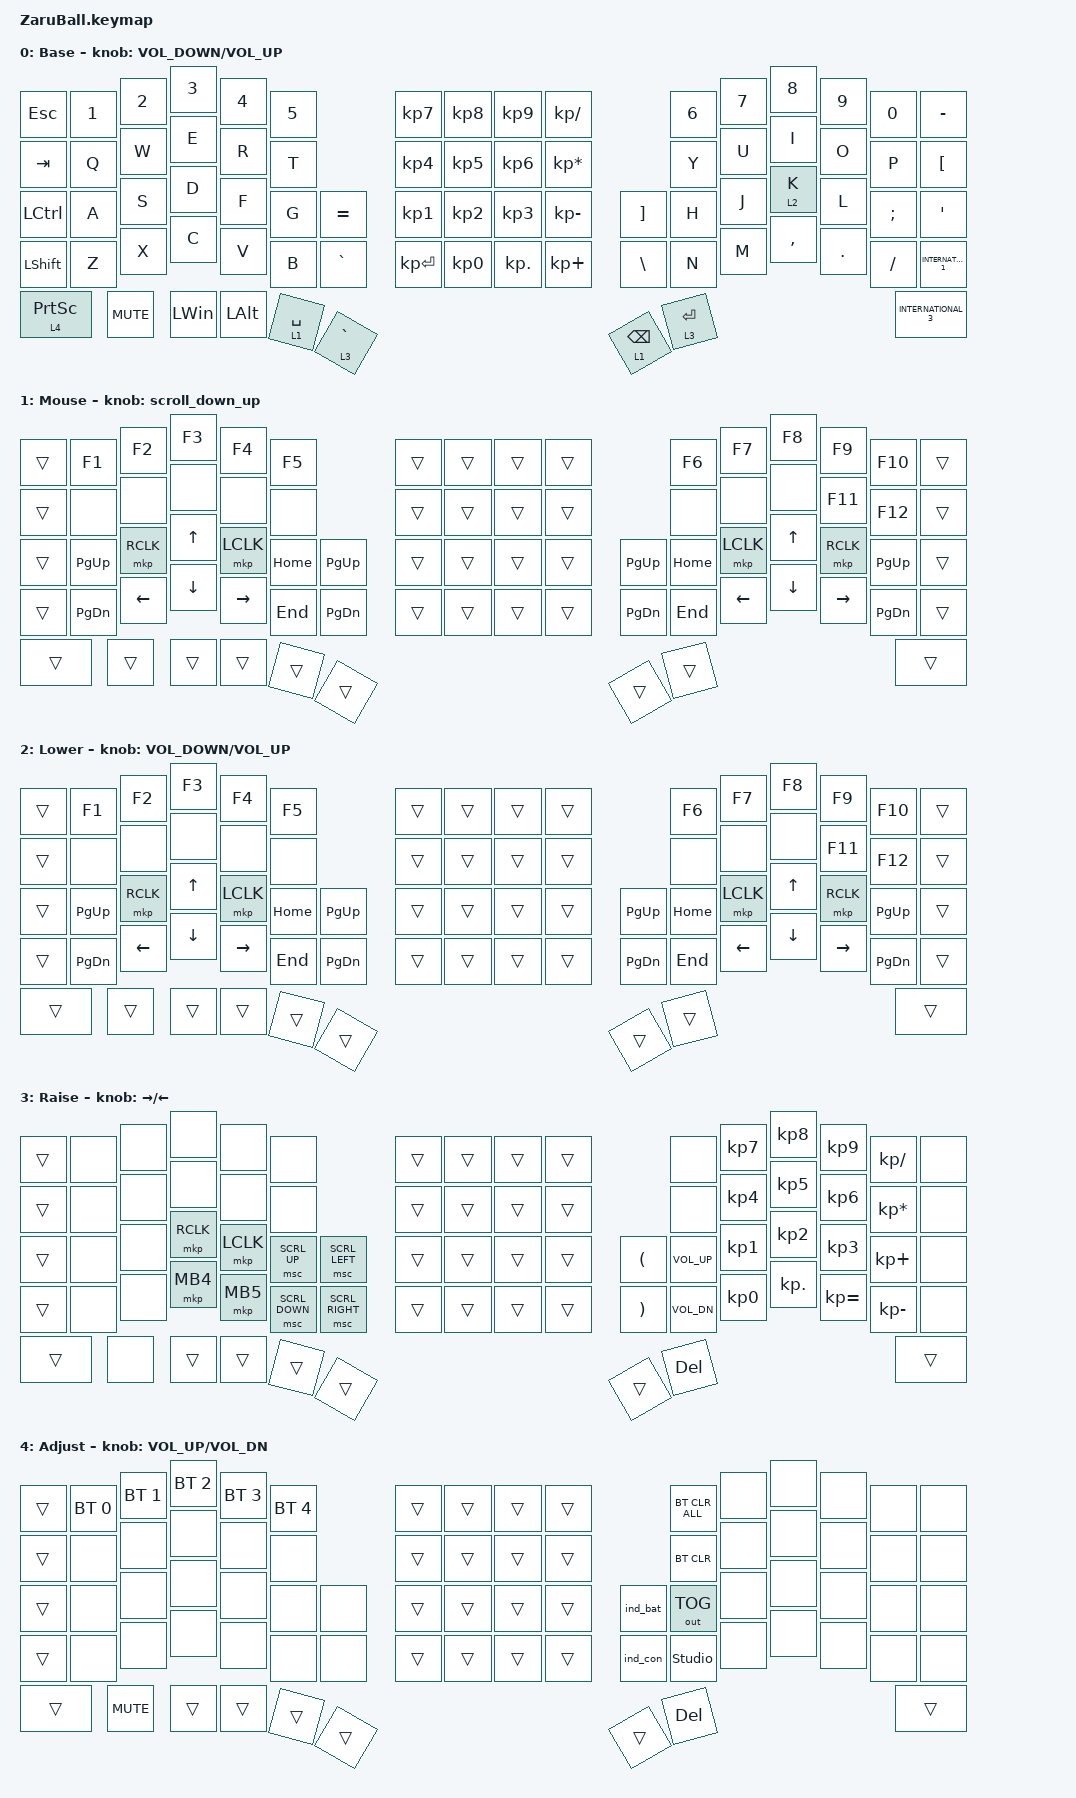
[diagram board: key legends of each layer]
//#include <dt-bindings/zmk/mouse.h>

#include <behaviors/rgbled_widget.dtsi>
#include <input/processors.dtsi>
#include <dt-bindings/zmk/input_transform.h>
#include <behaviors.dtsi>
#include <dt-bindings/zmk/bt.h>
#include <dt-bindings/zmk/keys.h>
#include <dt-bindings/zmk/outputs.h>
#include <dt-bindings/zmk/pointing.h>

#define BASE     0
#define MOUSE    1
#define LOWER    2
#define RAISE    3
#define ADJUST   4
#define SCROLL   2

// スクロール量の設定

#define ZMK_POINTING_DEFAULT_SCRL_VAL 100

&trackball_listener {
    input-processors = <
                         &zip_xy_transform (INPUT_TRANSFORM_XY_SWAP | INPUT_TRANSFORM_Y_INVERT | INPUT_TRANSFORM_X_INVERT)
                         &zip_temp_layer MOUSE 500
    >;

    scroller {
        layers = <SCROLL>;
        input-processors = <
                            &zip_xy_transform (INPUT_TRANSFORM_XY_SWAP | INPUT_TRANSFORM_X_INVERT)
                            &zip_xy_scaler 1 20
                            &zip_xy_to_scroll_mapper
        >;
    };
};

/ {
    conditional_layers {
        compatible = "zmk,conditional-layers";

        tri_layer {
            if-layers = <2 3>;
            then-layer = <4>;
        };
    };
};

/ {
    behaviors {
        // スクロール用のbehaviorの設定

        scroll_down_up: behavior_sensor_rotate_mouse_wheel_down_up {
            compatible = "zmk,behavior-sensor-rotate";
            #sensor-binding-cells = <0>;
            bindings = <&msc SCRL_DOWN>, <&msc SCRL_UP>;

            tap-ms = <20>; // スクロールのタップ時間
        };

        td0: tap_dance_0 {
            compatible = "zmk,behavior-tap-dance";
            #binding-cells = <0>;
            tapping-term-ms = <200>;
            bindings = <&mt LALT LANG2>, <&mo RAISE>, <&mo MOUSE>;
        };

        td1: tap_dance_1 {
            compatible = "zmk,behavior-tap-dance";
            #binding-cells = <0>;
            tapping-term-ms = <200>;
            bindings = <&mt RCTL LANG1>, <&mo RAISE>, <&mo MOUSE>;
        };

        // Customed Hold-Tap for SandS

        SandS: SandS {
            compatible = "zmk,behavior-hold-tap";
            #binding-cells = <2>;
            flavor = "tap-unless-interrupted";
            tapping-term-ms = <500>;
            quick-tap-ms = <500>;
            bindings = <&kp>, <&kp>;

            display-name = "SandS";
        };
    };
};

&sl { release-after-ms = <250>; }; // time needed for double click (for mkp_exit_AML)
/ {
    macros {
        // When in AML, move to default layer when key (except mouse button) pressed

        to_layer_0: to_layer_0 {
            compatible = "zmk,behavior-macro-one-param";
            #binding-cells = <1>;
            bindings = <&tog MOUSE &macro_param_1to1 &kp MACRO_PLACEHOLDER>;
            label = "TO_layer_0";
        };

        // When LCLK pressed, exit AML (after 250ms cause by sticky layer

        mkp_exit_AML: mkp_exit_AML {
            compatible = "zmk,behavior-macro-one-param";
            #binding-cells = <1>;
            bindings =
                <&macro_press>,
                <&macro_param_1to1 &mkp MACRO_PLACEHOLDER>,
                <&macro_pause_for_release>,
                <&macro_release>,
                <&macro_param_1to1 &mkp MACRO_PLACEHOLDER>,
                <&macro_tap>,
                <&sl MOUSE>;

            label = "MKP_EXIT_AML";
        };
    };
};

/ {
    keymap {
        compatible = "zmk,keymap";

        base_layer {
            display-name = "Base";
            sensor-bindings = <&inc_dec_kp C_VOLUME_DOWN C_VOLUME_UP>;
            bindings = <
&kp ESC            &kp N1      &kp N2  &kp N3    &kp N4        &kp N5                      &kp KP_N7     &kp KP_N8  &kp KP_N9   &kp KP_DIVIDE                         &kp NUMBER_6  &kp N7  &kp N8     &kp N9   &kp N0    &kp MINUS
&kp TAB            &kp Q       &kp W   &kp E     &kp R         &kp T                       &kp KP_N4     &kp KP_N5  &kp KP_N6   &kp KP_MULTIPLY                       &kp Y         &kp U   &kp I      &kp O    &kp P     &kp LEFT_BRACKET
&kp LEFT_CONTROL   &kp A       &kp S   &kp D     &kp F         &kp G        &kp EQUAL      &kp KP_N1     &kp KP_N2  &kp KP_N3   &kp KP_MINUS       &kp RIGHT_BRACKET  &kp H         &kp J   &lt 2 K    &kp L    &kp SEMI  &kp SQT
&kp LSHFT          &kp Z       &kp X   &kp C     &kp V         &kp B        &kp GRAVE      &kp KP_ENTER  &kp KP_N0  &kp KP_DOT  &kp KP_PLUS        &kp BACKSLASH      &kp N         &kp M   &kp COMMA  &kp DOT  &kp FSLH  &kp INTERNATIONAL_1
&lt 4 PRINTSCREEN  &kp C_MUTE          &kp LWIN  &kp LEFT_ALT  &lt 1 SPACE  &lt 3 GRAVE                                                            &lt 1 BACKSPACE    &lt 3 ENTER                                         &kp INTERNATIONAL_3
            >;
        };

        mouse_layer {
            display-name = "Mouse";
            sensor-bindings = <&scroll_down_up>;
            bindings = <
&trans  &kp F1         &kp F2          &kp F3          &kp F4           &kp F5                     &trans  &trans  &trans  &trans                   &kp F6    &kp F7          &kp F8        &kp F9     &kp F10        &trans
&trans  &none          &none           &none           &none            &none                      &trans  &trans  &trans  &trans                   &none     &none           &none         &kp F11    &kp F12        &trans
&trans  &kp PAGE_UP    &mkp RCLK       &kp UP          &mkp LCLK        &kp HOME  &kp PAGE_UP      &trans  &trans  &trans  &trans    &kp PAGE_UP    &kp HOME  &mkp LCLK       &kp UP_ARROW  &mkp RCLK  &kp PAGE_UP    &trans
&trans  &kp PAGE_DOWN  &kp LEFT_ARROW  &kp DOWN_ARROW  &kp RIGHT_ARROW  &kp END   &kp PAGE_DOWN    &trans  &trans  &trans  &trans    &kp PAGE_DOWN  &kp END   &kp LEFT_ARROW  &kp DOWN      &kp RIGHT  &kp PAGE_DOWN  &trans
&trans  &trans                         &trans          &trans           &trans    &trans                                             &trans         &trans                                                            &trans
            >;
        };

        lower_layer {
            display-name = "Lower";
            sensor-bindings = <&inc_dec_kp C_VOLUME_DOWN C_VOLUME_UP>;
            bindings = <
&trans  &kp F1         &kp F2          &kp F3          &kp F4           &kp F5                     &trans  &trans  &trans  &trans                   &kp F6    &kp F7          &kp F8        &kp F9     &kp F10        &trans
&trans  &none          &none           &none           &none            &none                      &trans  &trans  &trans  &trans                   &none     &none           &none         &kp F11    &kp F12        &trans
&trans  &kp PAGE_UP    &mkp RCLK       &kp UP          &mkp LCLK        &kp HOME  &kp PAGE_UP      &trans  &trans  &trans  &trans    &kp PAGE_UP    &kp HOME  &mkp LCLK       &kp UP_ARROW  &mkp RCLK  &kp PAGE_UP    &trans
&trans  &kp PAGE_DOWN  &kp LEFT_ARROW  &kp DOWN_ARROW  &kp RIGHT_ARROW  &kp END   &kp PAGE_DOWN    &trans  &trans  &trans  &trans    &kp PAGE_DOWN  &kp END   &kp LEFT_ARROW  &kp DOWN      &kp RIGHT  &kp PAGE_DOWN  &trans
&trans  &trans                         &trans          &trans           &trans    &trans                                             &trans         &trans                                                            &trans
            >;
        };

        raise_layer {
            display-name = "Raise";
            sensor-bindings = <&inc_dec_kp RIGHT LEFT>;
            bindings = <
&trans  &none  &none  &none      &none      &none                              &trans  &trans  &trans  &trans              &none         &kp KP_N7  &kp KP_N8   &kp KP_N9     &kp KP_SLASH     &none
&trans  &none  &none  &none      &none      &none                              &trans  &trans  &trans  &trans              &none         &kp KP_N4  &kp KP_N5   &kp KP_N6     &kp KP_ASTERISK  &none
&trans  &none  &none  &mkp RCLK  &mkp LCLK  &msc SCRL_UP    &msc SCRL_LEFT     &trans  &trans  &trans  &trans    &kp LPAR  &kp C_VOL_UP  &kp KP_N1  &kp KP_N2   &kp KP_N3     &kp KP_PLUS      &none
&trans  &none  &none  &mkp MB4   &mkp MB5   &msc SCRL_DOWN  &msc SCRL_RIGHT    &trans  &trans  &trans  &trans    &kp RPAR  &kp C_VOL_DN  &kp KP_N0  &kp KP_DOT  &kp KP_EQUAL  &kp KP_MINUS     &none
&trans  &none         &trans     &trans     &trans          &trans                                               &trans    &kp DEL                                                             &trans
            >;
        };

        adjust_layer {
            display-name = "Adjust";
            sensor-bindings = <&inc_dec_kp C_VOL_UP C_VOL_DN>;
            bindings = <
&trans  &bt BT_SEL 0  &bt BT_SEL 1  &bt BT_SEL 2  &bt BT_SEL 3  &bt BT_SEL 4            &trans  &trans  &trans  &trans              &bt BT_CLR_ALL  &none  &none  &none  &none  &none
&trans  &none         &none         &none         &none         &none                   &trans  &trans  &trans  &trans              &bt BT_CLR      &none  &none  &none  &none  &none
&trans  &none         &none         &none         &none         &none         &none     &trans  &trans  &trans  &trans    &ind_bat  &out OUT_TOG    &none  &none  &none  &none  &none
&trans  &none         &none         &none         &none         &none         &none     &trans  &trans  &trans  &trans    &ind_con  &studio_unlock  &none  &none  &none  &none  &none
&trans  &kp C_MUTE                  &trans        &trans        &trans        &trans                                      &trans    &kp DEL                                     &trans
            >;
        };

        // Extra layer can be added in ZMK STUDIO

        extra1 { status = "reserved"; };

        extra2 { status = "reserved"; };
    };
};
